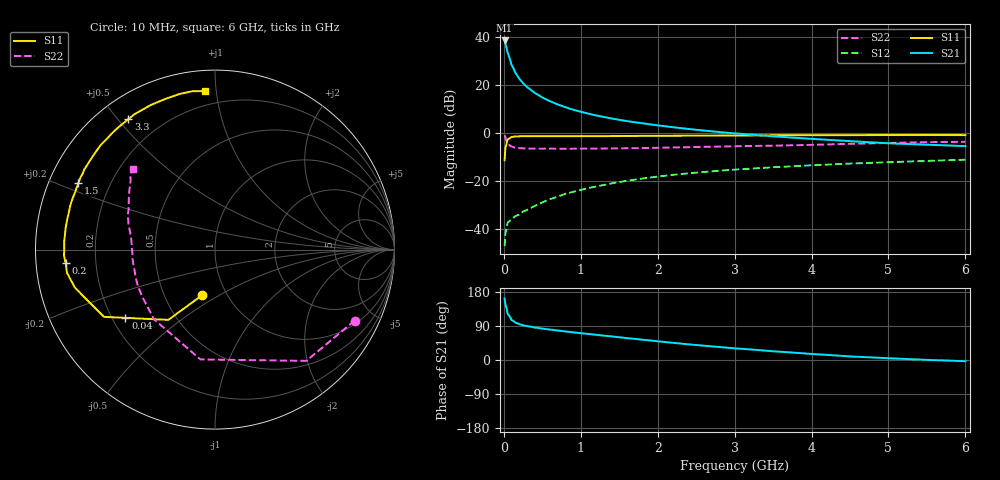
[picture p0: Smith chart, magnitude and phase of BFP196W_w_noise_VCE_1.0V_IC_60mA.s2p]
! Infineon Technologies  Discrete & RF Semiconductors
! BFP196W
! VCE =  1.0 V,  IC =  60 mA
! Common Emitter S-Parameters:  Jan 2017
# GHz  S  MA  R  50
!  f  S11  S21  S12  S22
! GHz  MAG  ANG  MAG  ANG  MAG  ANG  MAG  ANG
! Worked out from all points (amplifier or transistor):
!   77 points, 10 MHz to 6 GHz, reference 50 ohm
!   highest |S21| = 38.4 dB at 10 MHz (marker M1)
!   |S21| within 3 dB of that: start of sweep to 34.44 MHz
!   unconditionally stable (mu >= 1): 486.9 MHz to 4.978 GHz; 5.837 GHz to end of sweep
!   at 130 MHz: K = 0.53, MSG = 30.9 dB, |S12| = -35.3 dB
!   at 2.2 GHz: K = 1.05, MAG = 8.6 dB, |S12| = -17.6 dB
!   at 6 GHz: K = 1.00, MAG = 2.4 dB, |S12| = -11.3 dB
!   lowest NFmin = 1.47 dB at 450 MHz
!   S11 on the Smith chart (normalised r, x): 10 MHz: 0.76, -0.42; 40 MHz: 0.25, -0.32; 200 MHz: 0.09, -0.04; 1.5 GHz: 0.09, +0.23; 3.3 GHz: 0.09, +0.53; 6 GHz: 0.11, +0.93
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0.01  0.265 -105.9  82.96 162.7  0.0043 75.4  0.8731 -26.9
0.02  0.47 -123.6  73.52 146.9  0.0076 63.5  0.8021 -50.6
0.04  0.6274 -142.7  53.67 132.5  0.0113 46.7  0.6252 -79.4
0.05  0.7231 -148.8  45.82 121.0  0.0134 42.0  0.6172 -97.6
0.1  0.809 -164.8  25.8 105.4  0.0154 40.1  0.516 -131.2
0.15  0.8346 -171.1  17.63 98.7  0.0182 41.5  0.4834 -146.6
0.2  0.8356 -174.9  13.3 94.7  0.0196 47.2  0.4753 -154.7
0.25  0.842 -177.8  10.69 91.6  0.0226 49.3  0.4692 -160.1
0.3  0.84 -179.8  8.91 89.5  0.0244 52.2  0.4644 -163.7
0.4  0.8415 176.9  6.719 85.7  0.0295 57.5  0.4622 -168.6
0.5  0.84 174.2  5.377 82.8  0.0351 60.2  0.4616 -171.8
0.6  0.8407 171.8  4.496 80.2  0.041 61.7  0.463 -174.3
0.7  0.8404 169.7  3.853 77.9  0.0462 63.2  0.4606 -176.3
0.9  0.8402 165.5  2.997 73.1  0.0581 64.2  0.4617 -179.1
1.1  0.8432 161.5  2.477 68.7  0.0701 64.0  0.4629 178.3
1.5  0.8464 154.0  1.84 60.0  0.0931 61.7  0.4688 173.7
2.1  0.8564 142.8  1.351 47.4  0.1264 56.4  0.4857 167.6
3.1  0.8691 126.6  0.935 29.4  0.1729 46.1  0.5221 158.3
3.3  0.8724 123.6  0.884 26.4  0.1809 44.2  0.5275 156.4
4.1  0.8814 112.5  0.724 14.7  0.2115 36.9  0.5603 148.9
5.1  0.8892 101.9  0.59 3.8  0.2443 28.5  0.6125 140.2
6  0.8852 93.7  0.522 -3.2  0.272 21.4  0.6411 135.8
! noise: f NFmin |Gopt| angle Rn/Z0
0.45  1.47  0.52  -176  0.06
0.9  1.59  0.56  -170  0.07
1.9  2.42  0.69  -149  0.17
2.4  2.81  0.73  -144  0.27
